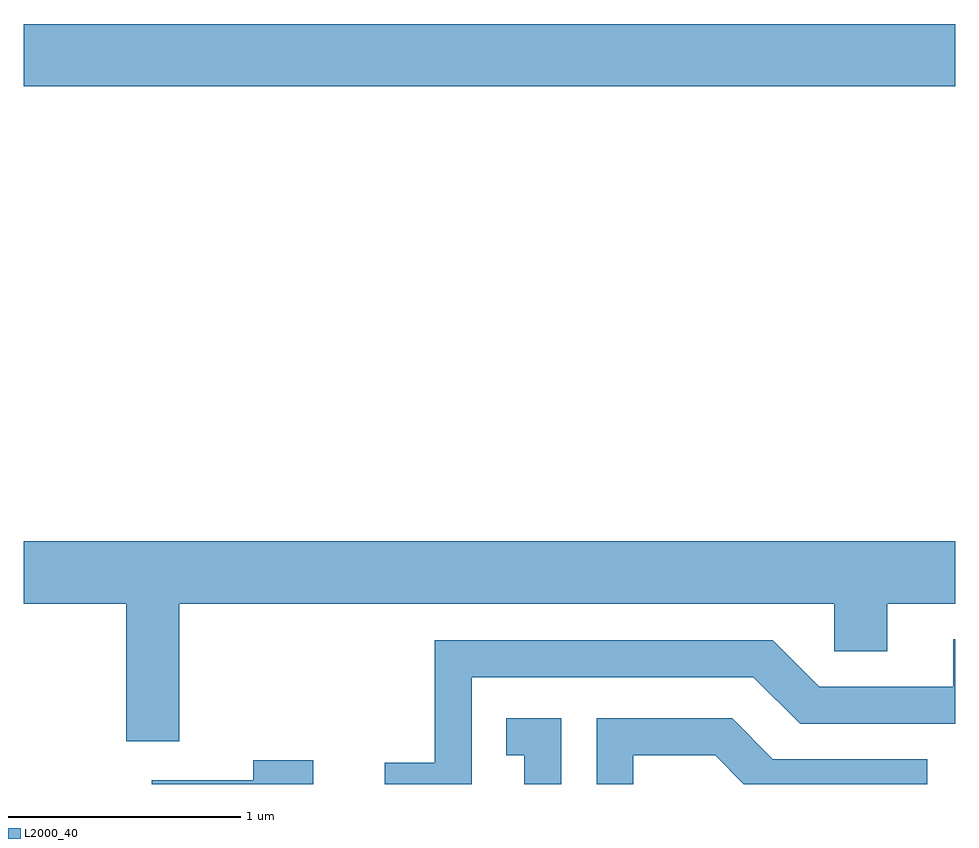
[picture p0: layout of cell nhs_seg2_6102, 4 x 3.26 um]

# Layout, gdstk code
import gdstk
lib = gdstk.Library(unit=1e-6, precision=1e-09)
def R(c, l, rs):  # rectangles x0, y0, x1, y1
    for r in rs: c.add(gdstk.rectangle(r[:2], r[2:], *l))
def P(c, l, *ps):  # polygons
    for p in ps: c.add(gdstk.Polygon(p, *l))
L2000_40 = (2000, 40)

nhs_seg2_6102 = lib.new_cell('nhs_seg2_6102')
R(nhs_seg2_6102, L2000_40, [(365.611,1012.796,369.611,1013.064)])
P(nhs_seg2_6102, L2000_40, [(366.279,1010.576),(369.091,1010.576),(369.091,1010.371),(369.319,1010.371),(369.319,1010.576),(369.611,1010.576),(369.611,1010.844),(365.611,1010.844),(365.611,1010.576),(366.051,1010.576),(366.051,1009.986),(366.279,1009.986)],
  [(367.534,1010.261),(368.744,1010.261),(368.944,1010.061),(369.611,1010.061),(369.611,1010.424),(369.601,1010.424),(369.601,1010.219),(369.027,1010.219),(368.827,1010.419),(367.376,1010.419),(367.376,1009.894),(367.161,1009.894),(367.161,1009.802),(367.534,1009.802)],
  [(367.919,1010.084),(367.683,1010.084),(367.683,1009.926),(367.761,1009.926),(367.761,1009.802),(367.919,1009.802)],
  [(368.229,1009.926),(368.579,1009.926),(368.703,1009.802),(369.489,1009.802),(369.489,1009.909),(368.827,1009.909),(368.652,1010.084),(368.071,1010.084),(368.071,1009.802),(368.229,1009.802)],
  [(366.854,1009.904),(366.596,1009.904),(366.596,1009.819),(366.161,1009.819),(366.161,1009.802),(366.854,1009.802)])

lib.write_gds('nhs_seg2_6102.gds')
